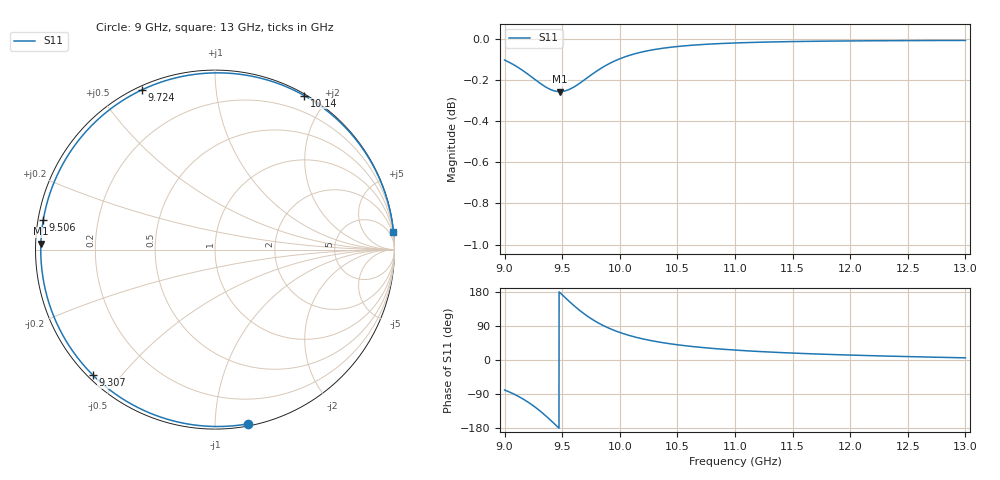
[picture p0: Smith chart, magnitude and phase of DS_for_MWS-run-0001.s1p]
! TOUCHSTONE file generated by CST DESIGN STUDIO
! Date and time: Tue Feb  4 15:56:09 2025
! Project name: C:\Work\MatlabApps\UnitCellOptimizationMatlab\CST\unitcell.cst
! Tree item: Tasks\Sweep1\SPara1\S-Parameters
! Header version: 2024
! Port assignment regex: !\s*Touchstone port\s*([0-9]+)\s*=\s*(CST MWS port|CST DES external port|CST DES block port)\s*(.+)\s* \(\"(.*)\"\)(\s*mode\s*([0-9]+))?.*
! Touchstone port assignment:
! Touchstone port 1 = CST DES external port 1 ("")
# GHz S MA R 50
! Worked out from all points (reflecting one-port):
!   4001 points, 9 GHz to 13 GHz, reference 50 ohm
!   lowest |S11| = -0.3 dB at 9.479 GHz (marker M1), VSWR 67.78, Z = 0.738 + j0.841 ohm
!   phase of S11 starts at -79 deg and turns -275 deg over the sweep
!   S11 on the Smith chart (normalised r, x): 9 GHz: 0.01, -1.21; 9.307 GHz: 0.01, -0.42; 9.506 GHz: 0.01, +0.09; 9.724 GHz: 0.02, +0.64; 10.14 GHz: 0.02, +1.74; 13 GHz: 0, +20
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9  0.9882 -79.1
9.076  0.9857 -89.3
9.174  0.9817 -105.5
9.243  0.9785 -119.4
9.307  0.9755 -134.3
9.352  0.9736 -145.9
9.4  0.972 -159.1
9.44  0.9712 -170.6
9.479  0.9709 178.1
9.5  0.971 172.0
9.506  0.9711 170.2
9.559  0.972 155.1
9.619  0.9741 139.0
9.671  0.9763 126.3
9.724  0.9788 114.6
9.779  0.9813 103.8
9.841  0.9838 93.3
9.919  0.9866 82.2
10  0.9889 72.7
10.142  0.9919 59.9
10.304  0.9941 49.3
10.5  0.9957 40.2
10.722  0.9969 32.8
11  0.9977 26.2
11.5  0.9985 18.3
12  0.9989 13.0
12.5  0.999 9.0
13  0.9991 5.7
